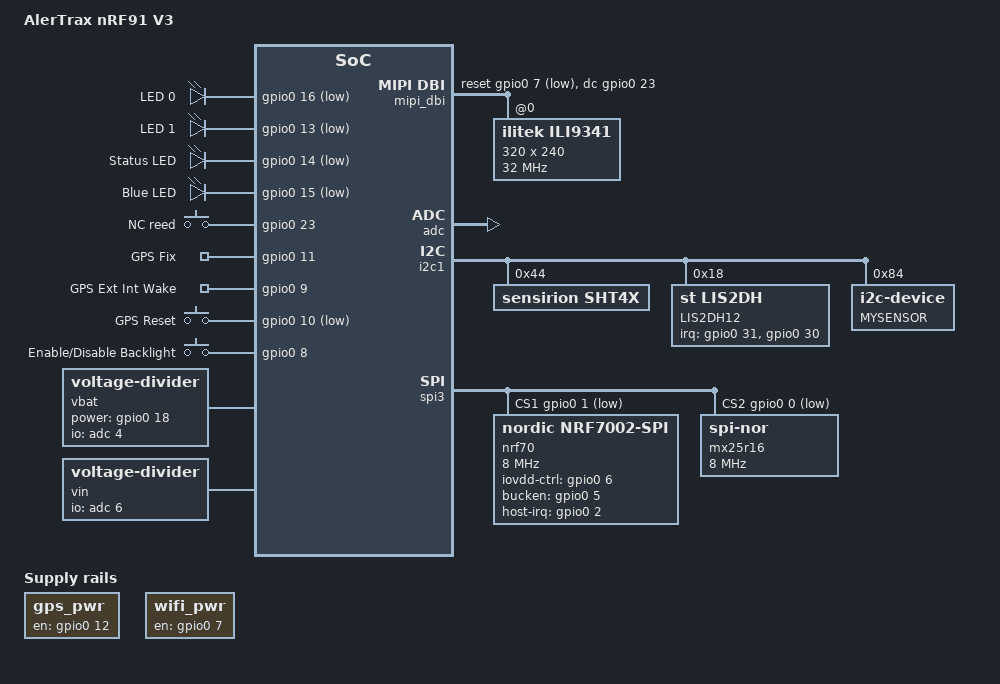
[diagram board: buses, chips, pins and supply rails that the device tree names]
/*
 * Copyright (c) 2018-2020 Nordic Semiconductor ASA
 * Copyright (c) 2020 Circuit Dojo LLC
 *
 * SPDX-License-Identifier: Apache-2.0
 */
#include "alertrax_common-pinctrl.dtsi"
#include <zephyr/dt-bindings/input/input-event-codes.h>

/ {
	model = "AlerTrax nRF91 V3";
	compatible = "alertrax,nrf91-v3";

	chosen {
		zephyr,console = &uart0;
		zephyr,shell-uart = &uart0;
		zephyr,uart-mcumgr = &uart0;
		zephyr,display = &ili9341;
        zephyr,wifi = &wlan0;
	};

	leds {
		compatible = "gpio-leds";
		led0_green: led_0 {
			gpios = <&gpio0 16 GPIO_ACTIVE_LOW>;
			label = "LED 0";
		};
		led1_red: led_1 {
			gpios = <&gpio0 13 GPIO_ACTIVE_LOW>;
			label = "LED 1";
		};
		gps_fix_led: led_2 {
			gpios = <&gpio0 14 GPIO_ACTIVE_LOW>;
			label = "Status LED";
		};
		blue_led: led_3 {
			gpios = <&gpio0 15 GPIO_ACTIVE_LOW>;
			label = "Blue LED";
		};
	};
	buttons {
		compatible = "gpio-keys";
		button1: button_1 {
			gpios = <&gpio0 23 GPIO_ACTIVE_HIGH>;
			label = "NC reed";
		};
		gpsfix: gps_fix {
			gpios = <&gpio0 11 GPIO_ACTIVE_HIGH>;
			label = "GPS Fix";
		};
	};

	  mipi_dbi {
        compatible = "zephyr,mipi-dbi-spi";
        reset-gpios = <&gpio0 7 GPIO_ACTIVE_LOW>;  // Display reset
        dc-gpios = <&gpio0 23 GPIO_ACTIVE_HIGH>;   // Data/command select
        spi-dev = <&spi3>;

        #address-cells = <1>;
        #size-cells = <0>;

        ili9341: ili9341@0 {
            compatible = "ilitek,ili9341";
            reg = <0>;                             // CS index 0 (gpio0.22)
            mipi-max-frequency = <32000000>;

            width = <320>;
            height = <240>;
            rotation = <90>;

            ifmode = [ 40  ];
            ifctl = [ 01 00 00  ];
            pwctrla = [ 39 2c 00 34 02  ];
            pwctrlb = [ 00 8b 30  ];
            pwseqctrl = [ 55 01 23 01  ];
            timctrla = [ 84 11 7a  ];
            timctrlb = [ 00 00  ];
            pumpratioctrl = [ 10  ];
            enable3g = [ 02  ];
            etmod = [ 06  ];
            gamset = [ 01  ];
            frmctr1 = [ 00 1b  ];
            disctrl = [ 0a 82 27 04  ];
            pwctrl1 = [ 21  ];
            pwctrl2 = [ 10  ];
            vmctrl1 = [ 31 3c  ];
            vmctrl2 = [ c0  ];

            pgamctrl = [ 0f 22 1f 0a 0e 06 4d 76 3b 03 0e 04 13 0e 0c  ];
            ngamctrl = [ 0c 23 26 04 10 04 39 24 4b 03 0b 0b 33 37 0f  ];

            status = "okay";
        };
    };
	

   gps_pwr: gps-pwr {
		compatible = "regulator-fixed";
		regulator-name = "tck106ag";
      enable-gpios = <&gpio0 12 GPIO_ACTIVE_HIGH>;
      startup-delay-us = <350>; 
      off-on-delay-us = <150>; 

		regulator-boot-on;
   };

   gpiocustom {
      compatible = "gpio-keys";
      gps_e_int: gps-e-int {
         label = "GPS Ext Int Wake";
         gpios = <&gpio0 9 GPIO_ACTIVE_HIGH>;
      };
      gps_reset: gps-reset {
         label = "GPS Reset";
         gpios = <&gpio0 10 GPIO_ACTIVE_LOW>;
      };
	   backlight: backlight {
            gpios = <&gpio0 8 GPIO_ACTIVE_HIGH>;   /* P0.08 for backlight */
            label = "Enable/Disable Backlight";
        };
		/*
      wifi_pwr: wifi-pwr {
         label = "Enable WiFi Power";
         gpios = <&gpio0 6 GPIO_ACTIVE_HIGH>;
      };
		*/
   };

	/* These aliases are provided for compatibility with samples */
	aliases {
		led0 = &led0_green;
		led1 = &led1_red;
		led2 = &gps_fix_led;
		led3 = &blue_led;
		bootloader-led0 = &blue_led;
		sw1 = &button1; // NO reed
      sw3 = &gpsfix;
      //gps-pwr = &gps_pwr;

		mcuboot-led0 = &blue_led;
		watchdog0 = &wdt0;
		spi-flash0 = &mx25r16;
		accel0 = &lis2dh12;
      gpsuart = &uart2;
	};
};

/*
/ {
	zephyr,user {
		io-channels = <&adc 4>, <&adc 6>;
	};
};
*/

&adc {
	status = "okay";
};

&gpiote {
	status = "okay";
};

&gpio0 {
	status = "okay";
};

&uart0 {
	status = "disabled";
	current-speed = <1000000>;
	pinctrl-0 = <&uart0_default>;
	pinctrl-1 = <&uart0_sleep>;
	pinctrl-names = "default", "sleep";
};

&uart1 {
	status = "disabled";
	current-speed = <1000000>;
	pinctrl-0 = <&uart1_default>;
	pinctrl-1 = <&uart1_sleep>;
	pinctrl-names = "default", "sleep";
};

&uart2 {
	status = "disabled";
	current-speed = <115200>;
	pinctrl-0 = <&uart2_default>;
	pinctrl-1 = <&uart2_sleep>;
	pinctrl-names = "default", "sleep";
};

&i2c1 {
	compatible = "nordic,nrf-twim";
	status = "okay";

	pinctrl-0 = <&i2c1_default>;
	pinctrl-1 = <&i2c1_sleep>;
	pinctrl-names = "default", "sleep";
	sht4x: sht4x@44 {
		compatible = "sensirion,sht4x";
		reg = <0x44>;
		repeatability = <2>;
		label = "SHT4X";
	};
	 lis2dh12: lis2dh@18 {
        compatible = "st,lis2dh";
        reg = <0x18>;  // LIS2DH I²C address when SDO/SA0 is LOW (your case)
        label = "LIS2DH12";
		irq-gpios = <&gpio0 31 GPIO_ACTIVE_HIGH>,
			    <&gpio0 30 GPIO_ACTIVE_HIGH>;
		disconnect-sdo-sa0-pull-up;
	};
	
   mysensor: mysensor@84{
      compatible = "i2c-device";
      reg = <0x84>;
      label = "MYSENSOR";
   };

};

&spi3 {
	status = "okay";
	compatible = "nordic,nrf-spim", "spi-device";
	pinctrl-0 = <&spi3_default>;
	pinctrl-1 = <&spi3_sleep>;
	pinctrl-names = "default", "sleep";
	cs-gpios = <&gpio0 22 GPIO_ACTIVE_LOW>,   // CS0: Display
    <&gpio0 1 GPIO_ACTIVE_LOW>,               // CS1: nRF7002
    <&gpio0 0 GPIO_ACTIVE_LOW>;    			  // CS2: Flash

	 //     /* nRF7002 Wi-Fi */
    nrf70: nrf7002-spi@1 {
        compatible = "nordic,nrf7002-spi";
        status = "okay";
        reg = <1>;
		spi-max-frequency = <DT_FREQ_M(8)>;
		iovdd-ctrl-gpios = <&gpio0 6 (GPIO_ACTIVE_HIGH | GPIO_PULL_UP)>;    /* D0 */
		bucken-gpios = <&gpio0 5 (GPIO_ACTIVE_HIGH | GPIO_PULL_DOWN)>;        /* D1 */
		host-irq-gpios = <&gpio0 2 GPIO_ACTIVE_HIGH>;     /* D7 */

		 /* List of interfaces */
        wlan0: wlan0 {
            compatible = "nordic,wlan";
        };

		wifi-max-tx-pwr-2g-dsss = <21>;
		wifi-max-tx-pwr-2g-mcs0 = <16>;
		wifi-max-tx-pwr-2g-mcs7 = <16>;
		wifi-max-tx-pwr-5g-low-mcs0 = <14>;
		wifi-max-tx-pwr-5g-low-mcs7 = <14>;
		wifi-max-tx-pwr-5g-mid-mcs0 = <14>;
		wifi-max-tx-pwr-5g-mid-mcs7 = <14>;
		wifi-max-tx-pwr-5g-high-mcs0 = <14>;
		wifi-max-tx-pwr-5g-high-mcs7 = <14>;
	};

	 /* MX25R16 External SPI NOR Flash */
    mx25r16: mx25r16@2 {
		status="okay";
		compatible = "jedec,spi-nor";
		reg = <2>;
		spi-max-frequency = <DT_FREQ_M(8)>;
/*
		spi-max-frequency = < 8000000 >;
		wp-gpios = < &gpio0 2 GPIO_ACTIVE_LOW >;
		hold-gpios = < &gpio0 1 GPIO_ACTIVE_LOW >;
		reset-gpios = < &gpio0 1 GPIO_ACTIVE_LOW >;
*/ 
		sfdp-bfp = [
			e5 20 f1 ff  ff ff ff 00  44 eb 08 6b  08 3b 04 bb
        	ee ff ff ff  ff ff 00 ff  ff ff 00 ff  0c 20 0f 52
        	10 d8 00 ff  23 72 f5 00  82 ed 04 c3  44 83 48 44
        	30 b0 30 b0  f7 c4 d5 5c  00 be 29 ff  f0 d0 ff ff
        ];
		size = < 0x1000000 >;
		jedec-id = [ c2 28 15 ];
		has-dpd;
		// dpd-wakeup-sequence = <30000 20 35000>;
		t-enter-dpd = <3000>;
		t-exit-dpd = <40000>;
		mxicy,mx25r-power-mode = "low-power";
	};
	
};

&flash0 {
	partitions {
		compatible = "fixed-partitions";
		#address-cells = <1>;
		#size-cells = <1>;

		boot_partition: partition@0 {
			label = "mcuboot";
			reg = <0x00000000 0x10000>;
		};
		slot0_partition: partition@10000 {
			label = "image-0";
		};
		slot0_ns_partition: partition@50000 {
			label = "image-0-nonsecure";
		};
		slot1_partition: partition@80000 {
			label = "image-1";
		};
		slot1_ns_partition: partition@c0000 {
			label = "image-1-nonsecure";
		};
		/* 0xf0000 to 0xf7fff reserved for TF-M partitions */
		storage_partition: partition@f8000 {
			label = "storage";
			reg = <0x000f8000 0x00008000>;
		};
	};
};

/ {
   wifi_pwr: wifi-pwr {
		compatible = "regulator-fixed";
		regulator-name = "tck106ag";
      enable-gpios = <&gpio0 7 GPIO_ACTIVE_HIGH>;
      startup-delay-us = <350>; 
      off-on-delay-us = <150>; 

		regulator-boot-on;
   };
};


/ {

	reserved-memory {
		#address-cells = <1>;
		#size-cells = <1>;
		ranges;

		sram0_s: image_s@20000000 {
			/* Secure image memory */
		};

		sram0_bsd: image_bsd@20016000 {
			/* Modem (shared) memory */
		};

		sram0_ns: image_ns@20020000 {
			/* Non-Secure image memory */
		};
	};
};

/ {
	vbat: vbatt {
		compatible = "voltage-divider";
		io-channels = <&adc 4>;
		output-ohms = <100000>;
		full-ohms = <(100000 + 100000)>;
		power-gpios = <&gpio0 18 GPIO_ACTIVE_HIGH>;
	};
	vin: vin {
		compatible = "voltage-divider";
		io-channels = <&adc 6>;
		output-ohms = <12000>;
		full-ohms = <(100000 + 12000)>;
	};
};

